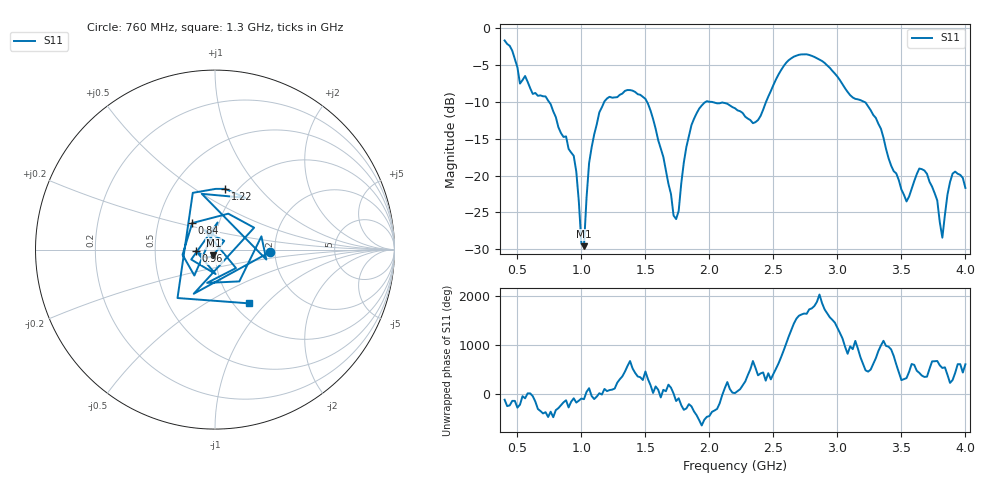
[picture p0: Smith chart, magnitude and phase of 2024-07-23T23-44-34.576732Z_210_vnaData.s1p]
!Created with skrf (http://scikit-rf.org).
# Hz S RI R 50.0
!freq ReS11 ImS11
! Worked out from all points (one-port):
!   181 points, 400 MHz to 4 GHz, reference 50 ohm
!   lowest |S11| = -29.6 dB at 1.02 GHz (marker M1), VSWR 1.07, Z = 49 - j3.13 ohm
!   |S11| at or under -10 dB: 747.9 MHz to 1.178 GHz (430 MHz wide, 44.7 % of centre); 1.513 GHz to 1.97 GHz (456.6 MHz wide, 26.2 % of centre); 3.211 GHz to end of sweep (the widest 3 of 4)
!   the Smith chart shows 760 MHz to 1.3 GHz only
!   S11 on the Smith chart (normalised r, x): 760 MHz: 1.88, -0.06; 840 MHz: 0.74, +0.23; 960 MHz: 0.81, -0.01; 1.22 GHz: 0.88, +0.67; 1.3 GHz: 1.17, -0.80
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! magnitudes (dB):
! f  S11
! 400 MHz  -1.6
! 520 MHz  -7.5
! 760 MHz  -10.3
! 840 MHz  -14.2
! 860 MHz  -14.7
! 960 MHz  -19.5
! 1 GHz  -29.3
! 1.02 GHz  -29.6
! 1.06 GHz  -18.3
! 1.08 GHz  -16.1
! 1.22 GHz  -9.3
! 1.3 GHz  -9.0
! 1.52 GHz  -10.2
! 1.72 GHz  -25.4
! 1.76 GHz  -24.8
! 1.82 GHz  -16.1
! 1.92 GHz  -10.9
! 2.2 GHz  -10.9
! 2.38 GHz  -12.4
! 2.66 GHz  -3.8
! 3.1 GHz  -9.1
! 3.3 GHz  -12.2
! 3.56 GHz  -22.8
! 3.68 GHz  -19.3
! 3.78 GHz  -23.4
! 3.82 GHz  -28.4
! 3.9 GHz  -19.7
! 4 GHz  -21.7
